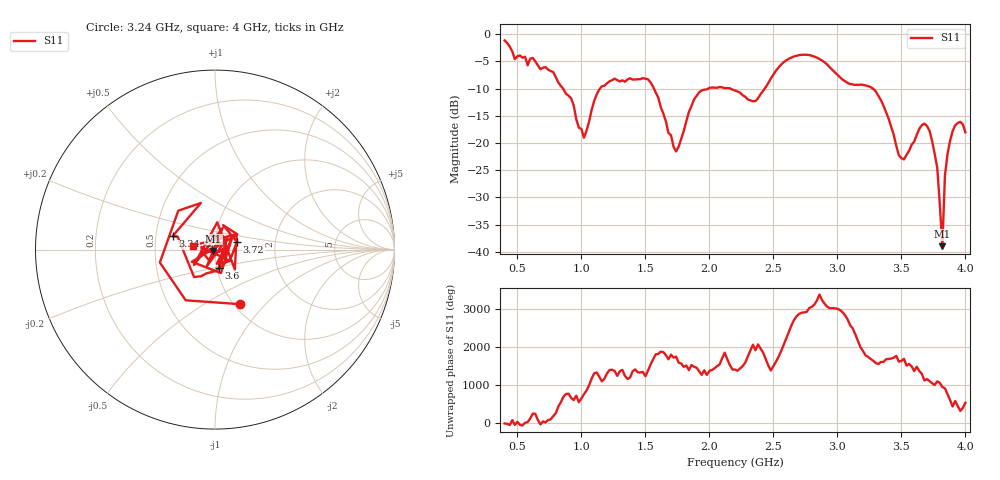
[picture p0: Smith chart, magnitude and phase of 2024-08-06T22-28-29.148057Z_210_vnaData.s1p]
!Created with skrf (http://scikit-rf.org).
# Hz S RI R 50.0
!freq ReS11 ImS11
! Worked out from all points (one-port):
!   181 points, 400 MHz to 4 GHz, reference 50 ohm
!   lowest |S11| = -39.0 dB at 3.82 GHz (marker M1), VSWR 1.02, Z = 49.2 - j0.737 ohm
!   |S11| at or under -10 dB: 856.8 MHz to 1.144 GHz (287.6 MHz wide, 28.7 % of centre); 1.567 GHz to 1.99 GHz (422.9 MHz wide, 23.8 % of centre); 3.279 GHz to end of sweep (the widest 3 of 4)
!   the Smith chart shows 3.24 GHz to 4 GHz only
!   S11 on the Smith chart (normalised r, x): 3.24 GHz: 1.07, -0.73; 3.34 GHz: 0.61, +0.10; 3.6 GHz: 1.02, -0.21; 3.72 GHz: 1.27, +0.11; 4 GHz: 0.78, +0.04
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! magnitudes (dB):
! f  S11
! 400 MHz  -1.1
! 480 MHz  -4.6
! 620 MHz  -4.3
! 860 MHz  -10.1
! 1.02 GHz  -19.0
! 1.14 GHz  -10.1
! 1.3 GHz  -8.7
! 1.52 GHz  -8.3
! 1.72 GHz  -20.7
! 1.76 GHz  -20.7
! 1.92 GHz  -10.7
! 2.2 GHz  -10.4
! 2.36 GHz  -12.3
! 2.66 GHz  -4.1
! 3.1 GHz  -9.2
! 3.24 GHz  -9.5
! 3.34 GHz  -12.1
! 3.48 GHz  -22.2
! 3.56 GHz  -21.4
! 3.6 GHz  -19.8
! 3.66 GHz  -16.7
! 3.72 GHz  -17.8
! 3.78 GHz  -24.5
! 3.82 GHz  -39.0
! 3.84 GHz  -26.1
! 3.88 GHz  -19.6
! 3.94 GHz  -16.3
! 4 GHz  -18.0
